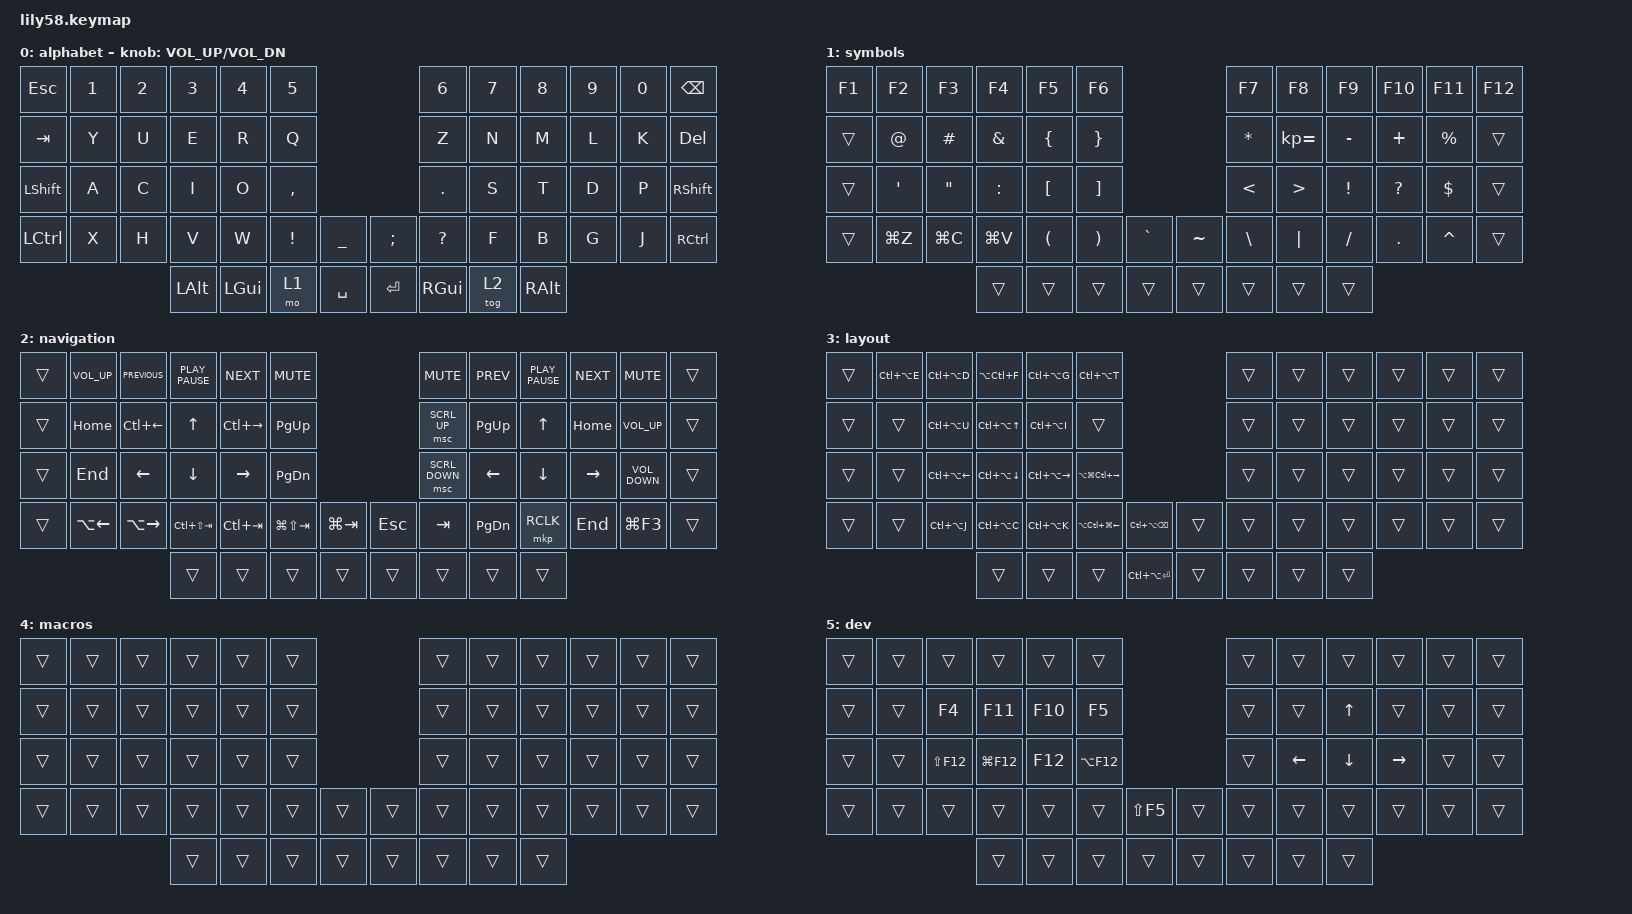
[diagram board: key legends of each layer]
/*
 * Copyright (c) 2020 The ZMK Contributors
 *
 * SPDX-License-Identifier: MIT
 */

#include <behaviors.dtsi>
#include <dt-bindings/zmk/keys.h>
#include <dt-bindings/zmk/pointing.h>

/ {
    keymap {
        compatible = "zmk,keymap";

        alphabet {
            // ------------------------------------------------------------------------------------------------------------
            // |  ESC  |  1  |  2  |  3   |  4   |  5   |                   |  6   |  7    |  8    |  9   |   0   |   `   |
            // |  TAB  |  Q  |  W  |  E   |  R   |  T   |                   |  Y   |  U    |  I    |  O   |   P   |   -   |
            // |  CTRL |  A  |  S  |  D   |  F   |  G   |                   |  H   |  J    |  K    |  L   |   ;   |   '   |
            // | SHIFT |  Z  |  X  |  C   |  V   |  B   |   "["  |  |  "]"  |  N   |  M    |  ,    |  .   |   /   | SHIFT |
            //                     | ALT  | GUI  | LOWER|  SPACE |  | ENTER | RAISE| BSPC  | GUI   |

            bindings = <
&kp ESCAPE        &kp N1  &kp N2  &kp N3    &kp N4    &kp N5                                 &kp N6         &kp N7  &kp N8         &kp N9  &kp N0  &kp BACKSPACE
&kp TAB           &kp Y   &kp U   &kp E     &kp R     &kp Q                                  &kp Z          &kp N   &kp M          &kp L   &kp K   &kp DEL
&kp LEFT_SHIFT    &kp A   &kp C   &kp I     &kp O     &kp COMMA                              &kp PERIOD     &kp S   &kp T          &kp D   &kp P   &kp RIGHT_SHIFT
&kp LEFT_CONTROL  &kp X   &kp H   &kp V     &kp W     &kp EXCL   &kp UNDERSCORE    &kp SEMI  &kp QUESTION   &kp F   &kp B          &kp G   &kp J   &kp RIGHT_CONTROL
                                  &kp LALT  &kp LGUI  &mo 1      &kp SPACE         &kp RET   &kp RIGHT_GUI  &tog 2  &kp RIGHT_ALT
            >;

            sensor-bindings = <&inc_dec_kp C_VOL_UP C_VOL_DN>;
        };

        symbols {
            // ------------------------------------------------------------------------------------------------------------
            // | BTCLR | BT1 | BT2 |  BT3 |  BT4 |  BT5 |                   |      |       |       |      |       |       |
            // |  F1   |  F2 |  F3 |  F4  |  F5  |  F6  |                   |  F7  |  F8   |  F9   |  F10 |  F11  |  F12  |
            // |   `   |  !  |  @  |  #   |  $   |  %   |                   |  ^   |  &    |  *    |  (   |   )   |   ~   |
            // |       |     |     |      |      |      |        |  |       |      |  _    |  +    |  {   |   }   |  "|"  |
            //                     |      |      |      |        |  |       |      |       |       |

            bindings = <
&kp F1  &kp F2          &kp F3             &kp F4         &kp F5                &kp F6                                         &kp F7         &kp F8            &kp F9     &kp F10       &kp F11      &kp F12
&trans  &kp AT          &kp HASH           &kp AMPERSAND  &kp LEFT_BRACE        &kp RIGHT_BRACE                                &kp STAR       &kp KP_EQUAL      &kp MINUS  &kp PLUS      &kp PERCENT  &trans
&trans  &kp APOSTROPHE  &kp DOUBLE_QUOTES  &kp COLON      &kp LEFT_BRACKET      &kp RIGHT_BRACKET                              &kp LESS_THAN  &kp GREATER_THAN  &kp EXCL   &kp QUESTION  &kp DOLLAR   &trans
&trans  &kp LG(Z)       &kp LG(C)          &kp LG(V)      &kp LEFT_PARENTHESIS  &kp RIGHT_PARENTHESIS  &kp GRAVE    &kp TILDE  &kp BACKSLASH  &kp PIPE          &kp SLASH  &kp DOT       &kp CARET    &trans
                                           &trans         &trans                &trans                 &trans       &trans     &trans         &trans            &trans
            >;
        };

        navigation {
            // ------------------------------------------------------------------------------------------------------------
            // |       |     |     |      |      |      |                   |      |       |       |      |       |       |
            // |   `   |  1  |  2  |  3   |  4   |  5   |                   |  6   |   7   |   8   |  9   |   0   |       |
            // |   F1  |  F2 |  F3 |  F4  |  F5  |  F6  |                   |      |   <-  |   v   |  ^   |  ->   |       |
            // |   F7  |  F8 |  F9 |  F10 |  F11 |  F12 |        |  |       |  +   |   -   |   =   |  [   |   ]   |   \   |
            //                     |      |      |      |        |  |       |      |       |       |

            bindings = <
&trans  &kp K_VOLUME_UP     &kp K_PREVIOUS  &kp K_PLAY_PAUSE  &kp K_NEXT       &kp K_MUTE                                  &kp K_MUTE      &kp K_PREV      &kp K_PLAY_PAUSE  &kp K_NEXT       &kp K_MUTE         &trans
&trans  &kp HOME            &kp LC(LEFT)    &kp UP_ARROW      &kp LC(RIGHT)    &kp PG_UP                                   &msc SCRL_UP    &kp PAGE_UP     &kp UP_ARROW      &kp HOME         &kp C_VOL_UP       &trans
&trans  &kp END             &kp LEFT_ARROW  &kp DOWN_ARROW    &kp RIGHT_ARROW  &kp PAGE_DOWN                               &msc SCRL_DOWN  &kp LEFT_ARROW  &kp DOWN_ARROW    &kp RIGHT_ARROW  &kp C_VOLUME_DOWN  &trans
&trans  &kp LA(LEFT_ARROW)  &kp LA(RIGHT)   &kp LC(LS(TAB))   &kp LC(TAB)      &kp LG(LS(TAB))  &kp LG(TAB)    &kp ESCAPE  &kp TAB         &kp PAGE_DOWN   &mkp RCLK         &kp END          &kp LG(F3)         &trans
                                            &trans            &trans           &trans           &trans         &trans      &trans          &trans          &trans
            >;
        };

        layout {
            bindings = <
&trans  &kp LC(LA(E))  &kp LC(LA(D))           &kp LA(LC(F))           &kp LC(LA(G))            &kp LC(LA(T))                                                &trans  &trans  &trans  &trans  &trans  &trans
&trans  &trans         &kp LC(LA(U))           &kp LC(LA(UP_ARROW))    &kp LC(LA(I))            &trans                                                       &trans  &trans  &trans  &trans  &trans  &trans
&trans  &trans         &kp LC(LA(LEFT_ARROW))  &kp LC(LA(DOWN_ARROW))  &kp LC(LA(RIGHT_ARROW))  &kp LA(LG(LC(RIGHT)))                                        &trans  &trans  &trans  &trans  &trans  &trans
&trans  &trans         &kp LC(LA(J))           &kp LC(LA(C))           &kp LC(LA(K))            &kp LA(LC(LG(LEFT_ARROW)))  &kp LC(LA(BACKSPACE))    &trans  &trans  &trans  &trans  &trans  &trans  &trans
                                               &trans                  &trans                   &trans                      &kp LC(LA(ENTER))        &trans  &trans  &trans  &trans
            >;
        };

        macros {
            bindings = <
&trans  &trans  &trans  &trans  &trans  &trans                    &trans  &trans  &trans  &trans  &trans  &trans
&trans  &trans  &trans  &trans  &trans  &trans                    &trans  &trans  &trans  &trans  &trans  &trans
&trans  &trans  &trans  &trans  &trans  &trans                    &trans  &trans  &trans  &trans  &trans  &trans
&trans  &trans  &trans  &trans  &trans  &trans  &trans    &trans  &trans  &trans  &trans  &trans  &trans  &trans
                        &trans  &trans  &trans  &trans    &trans  &trans  &trans  &trans
            >;
        };

        dev {
            bindings = <
&trans  &trans  &trans       &trans       &trans   &trans                             &trans  &trans    &trans    &trans     &trans  &trans
&trans  &trans  &kp F4       &kp F11      &kp F10  &kp F5                             &trans  &trans    &kp UP    &trans     &trans  &trans
&trans  &trans  &kp LS(F12)  &kp LG(F12)  &kp F12  &kp LA(F12)                        &trans  &kp LEFT  &kp DOWN  &kp RIGHT  &trans  &trans
&trans  &trans  &trans       &trans       &trans   &trans       &kp LS(F5)    &trans  &trans  &trans    &trans    &trans     &trans  &trans
                             &trans       &trans   &trans       &trans        &trans  &trans  &trans    &trans
            >;
        };
    };
};
